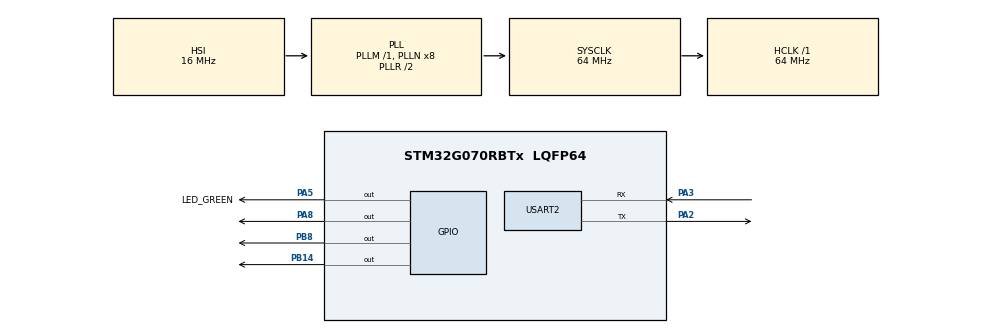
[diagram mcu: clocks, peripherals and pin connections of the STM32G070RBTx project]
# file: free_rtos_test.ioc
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FREERTOS.Tasks01=defaultTask,0,128,StartDefaultTask,Default,NULL,Dynamic,NULL,NULL;myTask02,0,128,StartTask02,Default,NULL,Dynamic,NULL,NULL;myTask03,0,128,StartTask03,Default,NULL,Dynamic,NULL,NULL
Mcu.Family=STM32G0
Mcu.Name=STM32G070RBTx
Mcu.Package=LQFP64
NVIC.TIM6_IRQn=true\:3\:0\:false\:false\:true\:false\:false\:true\:true
NVIC.TimeBase=TIM6_IRQn
NVIC.TimeBaseIP=TIM6
PA13.GPIO_Label=TMS
PA13.Mode=Serial_Wire
PA13.Signal=SYS_SWDIO
PA14-BOOT0.GPIO_Label=TCK
PA14-BOOT0.Mode=Serial_Wire
PA14-BOOT0.Signal=SYS_SWCLK
PA2.GPIO_PuPd=GPIO_PULLUP
PA2.Mode=Asynchronous
PA2.Signal=USART2_TX
PA3.GPIO_PuPd=GPIO_PULLUP
PA3.Mode=Asynchronous
PA3.Signal=USART2_RX
PA5.GPIO_Label=LED_GREEN
PA5.GPIO_Speed=GPIO_SPEED_FREQ_HIGH
PA5.Signal=GPIO_Output
PA8.Signal=GPIO_Output
PB14.Signal=GPIO_Output
PB8.Signal=GPIO_Output
PC13.Mode=SYS_WakeUp1
PC13.Signal=SYS_WKUP2
PC14-OSC32_IN\ (PC14).Mode=LSE-External-Oscillator
PC14-OSC32_IN\ (PC14).Signal=RCC_OSC32_IN
PC15-OSC32_OUT\ (PC15).Mode=LSE-External-Oscillator
PC15-OSC32_OUT\ (PC15).Signal=RCC_OSC32_OUT
PF0-OSC_IN\ (PF0).GPIO_Label=MCO
PF0-OSC_IN\ (PF0).Mode=HSE-External-Oscillator
PF0-OSC_IN\ (PF0).Signal=RCC_OSC_IN
PF1-OSC_OUT\ (PF1).Mode=HSE-External-Oscillator
PF1-OSC_OUT\ (PF1).Signal=RCC_OSC_OUT
ProjectManager.HeapSize=0x200
ProjectManager.StackSize=0x400
ProjectManager.TargetToolchain=Makefile
RCC.ADCFreq_Value=64000000
RCC.AHBFreq_Value=64000000
RCC.CortexFreq_Value=64000000
RCC.EXTERNAL_CLOCK_VALUE=12288000
RCC.HCLKFreq_Value=64000000
RCC.HSE_VALUE=8000000
RCC.HSI_VALUE=16000000
RCC.SYSCLKFreq_VALUE=64000000
RCC.SYSCLKSource=RCC_SYSCLKSOURCE_PLLCLK
RCC.VCOOutputFreq_Value=128000000
USART2.VirtualMode-Asynchronous=VM_ASYNC
USART2.WordLength=WORDLENGTH_8B
VP_FREERTOS_VS_CMSIS_V1.Mode=CMSIS_V1
VP_SYS_VS_DBSignals.Mode=DisableDeadBatterySignals
VP_SYS_VS_tim6.Mode=TIM6
board=NUCLEO-G070RB

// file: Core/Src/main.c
/* USER CODE BEGIN Header */
/**
  ******************************************************************************
  * @file           : main.c
  * @brief          : Main program body
  ******************************************************************************
  * @attention
  *
  * Copyright (c) 2024 STMicroelectronics.
  * All rights reserved.
  *
  * This software is licensed under terms that can be found in the LICENSE file
  * in the root directory of this software component.
  * If no LICENSE file comes with this software, it is provided AS-IS.
  *
  ******************************************************************************
  */
/* USER CODE END Header */
#include "main.h"
#include "cmsis_os.h"

/* USER CODE BEGIN Includes */
#include <stdio.h>
/* USER CODE END Includes */

UART_HandleTypeDef huart2;

osThreadId defaultTaskHandle;
osThreadId myTask02Handle;
osThreadId myTask03Handle;

void SystemClock_Config(void);
static void MX_GPIO_Init(void);
static void MX_USART2_UART_Init(void);
void StartDefaultTask(void const * argument);
void StartTask02(void const * argument);
void StartTask03(void const * argument);

/* USER CODE BEGIN PFP */
void task_start(char* tsk_name);
void task_exe(char* tsk_name);
void task_stop(char* tsk_name);

/* USER CODE END PFP */

int main(void)
{

  /* MCU Configuration--------------------------------------------------------*/

  /* Reset of all peripherals, Initializes the Flash interface and the Systick. */
  HAL_Init();

  /* Configure the system clock */
  SystemClock_Config();

  /* Initialize all configured peripherals */
  MX_GPIO_Init();
  MX_USART2_UART_Init();

  /* Create the thread(s) */
  /* definition and creation of defaultTask */
  osThreadDef(defaultTask, StartDefaultTask, osPriorityNormal, 0, 128);
  defaultTaskHandle = osThreadCreate(osThread(defaultTask), NULL);

  /* definition and creation of myTask02 */
  osThreadDef(myTask02, StartTask02, osPriorityNormal, 0, 128);
  myTask02Handle = osThreadCreate(osThread(myTask02), NULL);

  /* definition and creation of myTask03 */
  osThreadDef(myTask03, StartTask03, osPriorityNormal, 0, 128);
  myTask03Handle = osThreadCreate(osThread(myTask03), NULL);

  /* Start scheduler */
  osKernelStart();

  /* We should never get here as control is now taken by the scheduler */

  /* Infinite loop */
  while (1)
  {

  }
}

void SystemClock_Config(void)
{
  RCC_OscInitTypeDef RCC_OscInitStruct = {0};
  RCC_ClkInitTypeDef RCC_ClkInitStruct = {0};

  /** Configure the main internal regulator output voltage
  */
  HAL_PWREx_ControlVoltageScaling(PWR_REGULATOR_VOLTAGE_SCALE1);

  /** Initializes the RCC Oscillators according to the specified parameters
  * in the RCC_OscInitTypeDef structure.
  */
  RCC_OscInitStruct.OscillatorType = RCC_OSCILLATORTYPE_HSI;
  RCC_OscInitStruct.HSIState = RCC_HSI_ON;
  RCC_OscInitStruct.HSIDiv = RCC_HSI_DIV1;
  RCC_OscInitStruct.HSICalibrationValue = RCC_HSICALIBRATION_DEFAULT;
  RCC_OscInitStruct.PLL.PLLState = RCC_PLL_ON;
  RCC_OscInitStruct.PLL.PLLSource = RCC_PLLSOURCE_HSI;
  RCC_OscInitStruct.PLL.PLLM = RCC_PLLM_DIV1;
  RCC_OscInitStruct.PLL.PLLN = 8;
  RCC_OscInitStruct.PLL.PLLP = RCC_PLLP_DIV2;
  RCC_OscInitStruct.PLL.PLLR = RCC_PLLR_DIV2;
  if (HAL_RCC_OscConfig(&RCC_OscInitStruct) != HAL_OK)
  {
    Error_Handler();
  }

  /** Initializes the CPU, AHB and APB buses clocks
  */
  RCC_ClkInitStruct.ClockType = RCC_CLOCKTYPE_HCLK|RCC_CLOCKTYPE_SYSCLK
                              |RCC_CLOCKTYPE_PCLK1;
  RCC_ClkInitStruct.SYSCLKSource = RCC_SYSCLKSOURCE_PLLCLK;
  RCC_ClkInitStruct.AHBCLKDivider = RCC_SYSCLK_DIV1;
  RCC_ClkInitStruct.APB1CLKDivider = RCC_HCLK_DIV1;

  if (HAL_RCC_ClockConfig(&RCC_ClkInitStruct, FLASH_LATENCY_2) != HAL_OK)
  {
    Error_Handler();
  }
}

static void MX_USART2_UART_Init(void)
{

  huart2.Instance = USART2;
  huart2.Init.BaudRate = 115200;
  huart2.Init.WordLength = UART_WORDLENGTH_8B;
  huart2.Init.StopBits = UART_STOPBITS_1;
  huart2.Init.Parity = UART_PARITY_NONE;
  huart2.Init.Mode = UART_MODE_TX_RX;
  huart2.Init.HwFlowCtl = UART_HWCONTROL_NONE;
  huart2.Init.OverSampling = UART_OVERSAMPLING_16;
  huart2.Init.OneBitSampling = UART_ONE_BIT_SAMPLE_DISABLE;
  huart2.Init.ClockPrescaler = UART_PRESCALER_DIV1;
  huart2.AdvancedInit.AdvFeatureInit = UART_ADVFEATURE_NO_INIT;
  if (HAL_UART_Init(&huart2) != HAL_OK)
  {
    Error_Handler();
  }
  if (HAL_UARTEx_SetTxFifoThreshold(&huart2, UART_TXFIFO_THRESHOLD_1_8) != HAL_OK)
  {
    Error_Handler();
  }
  if (HAL_UARTEx_SetRxFifoThreshold(&huart2, UART_RXFIFO_THRESHOLD_1_8) != HAL_OK)
  {
    Error_Handler();
  }
  if (HAL_UARTEx_DisableFifoMode(&huart2) != HAL_OK)
  {
    Error_Handler();
  }

}

static void MX_GPIO_Init(void)
{
  GPIO_InitTypeDef GPIO_InitStruct = {0};

  /* GPIO Ports Clock Enable */
  __HAL_RCC_GPIOC_CLK_ENABLE();
  __HAL_RCC_GPIOF_CLK_ENABLE();
  __HAL_RCC_GPIOA_CLK_ENABLE();
  __HAL_RCC_GPIOB_CLK_ENABLE();

  /*Configure GPIO pin Output Level */
  HAL_GPIO_WritePin(GPIOA, LED_GREEN_Pin|GPIO_PIN_8, GPIO_PIN_RESET);

  /*Configure GPIO pin Output Level */
  HAL_GPIO_WritePin(GPIOB, GPIO_PIN_14|GPIO_PIN_8, GPIO_PIN_RESET);

  /*Configure GPIO pin : LED_GREEN_Pin */
  GPIO_InitStruct.Pin = LED_GREEN_Pin;
  GPIO_InitStruct.Mode = GPIO_MODE_OUTPUT_PP;
  GPIO_InitStruct.Pull = GPIO_NOPULL;
  GPIO_InitStruct.Speed = GPIO_SPEED_FREQ_HIGH;
  HAL_GPIO_Init(LED_GREEN_GPIO_Port, &GPIO_InitStruct);

  /*Configure GPIO pins : PB14 PB8 */
  GPIO_InitStruct.Pin = GPIO_PIN_14|GPIO_PIN_8;
  GPIO_InitStruct.Mode = GPIO_MODE_OUTPUT_PP;
  GPIO_InitStruct.Pull = GPIO_NOPULL;
  GPIO_InitStruct.Speed = GPIO_SPEED_FREQ_LOW;
  HAL_GPIO_Init(GPIOB, &GPIO_InitStruct);

  /*Configure GPIO pin : PA8 */
  GPIO_InitStruct.Pin = GPIO_PIN_8;
  GPIO_InitStruct.Mode = GPIO_MODE_OUTPUT_PP;
  GPIO_InitStruct.Pull = GPIO_NOPULL;
  GPIO_InitStruct.Speed = GPIO_SPEED_FREQ_LOW;
  HAL_GPIO_Init(GPIOA, &GPIO_InitStruct);

}

/* USER CODE BEGIN 4 */
void task_start(char* tsk_name){
  uint8_t start_tsk[30] = {0};

  sprintf((char*)start_tsk, "task %s is starting\r\n", tsk_name);

  HAL_UART_Transmit(&huart2,(const uint8_t*)start_tsk,30,HAL_MAX_DELAY);
}

void task_exe(char* tsk_name){
  uint8_t exe_tsk[30] = {0};

  sprintf((char*)exe_tsk, "task %s is executing\r\n", tsk_name);

  HAL_UART_Transmit(&huart2,(const uint8_t*)exe_tsk,30,HAL_MAX_DELAY);
}

void task_stop(char* tsk_name){
  uint8_t stop_tsk[30] = {0};

  sprintf((char*)stop_tsk, "task %s is ending\r\n", tsk_name);

  HAL_UART_Transmit(&huart2,(const uint8_t*)stop_tsk,30,HAL_MAX_DELAY);
}

/* USER CODE END 4 */

void StartDefaultTask(void const * argument)
{
  /* USER CODE BEGIN 5 */
  /* Infinite loop */
  for(;;)
  {
    task_start("def_tsk");
    HAL_Delay(250);
    task_exe("def_tsk");
    HAL_Delay(250);
    task_stop("def_tsk");

    osDelay(1000);
  }
  /* USER CODE END 5 */
}

void StartTask02(void const * argument)
{
  /* USER CODE BEGIN StartTask02 */
  /* Infinite loop */
  for(;;)
  {
    task_start("tsk2");
    HAL_Delay(500);
    task_exe("tsk2");
    HAL_Delay(500);
    task_stop("tsk2");
    osDelay(1000);
  }
  /* USER CODE END StartTask02 */
}

void StartTask03(void const * argument)
{
  /* USER CODE BEGIN StartTask03 */
  /* Infinite loop */
  for(;;)
  {
    task_start("tsk3");
    HAL_Delay(1000);
    task_exe("tsk3");
    HAL_Delay(1000);
    task_stop("tsk3");
    osDelay(1000);
  }
  /* USER CODE END StartTask03 */
}

void HAL_TIM_PeriodElapsedCallback(TIM_HandleTypeDef *htim)
{
  if (htim->Instance == TIM6) {
    HAL_IncTick();
  }
}

void Error_Handler(void)
{
  __disable_irq();
  while (1)
  {
  }
}
